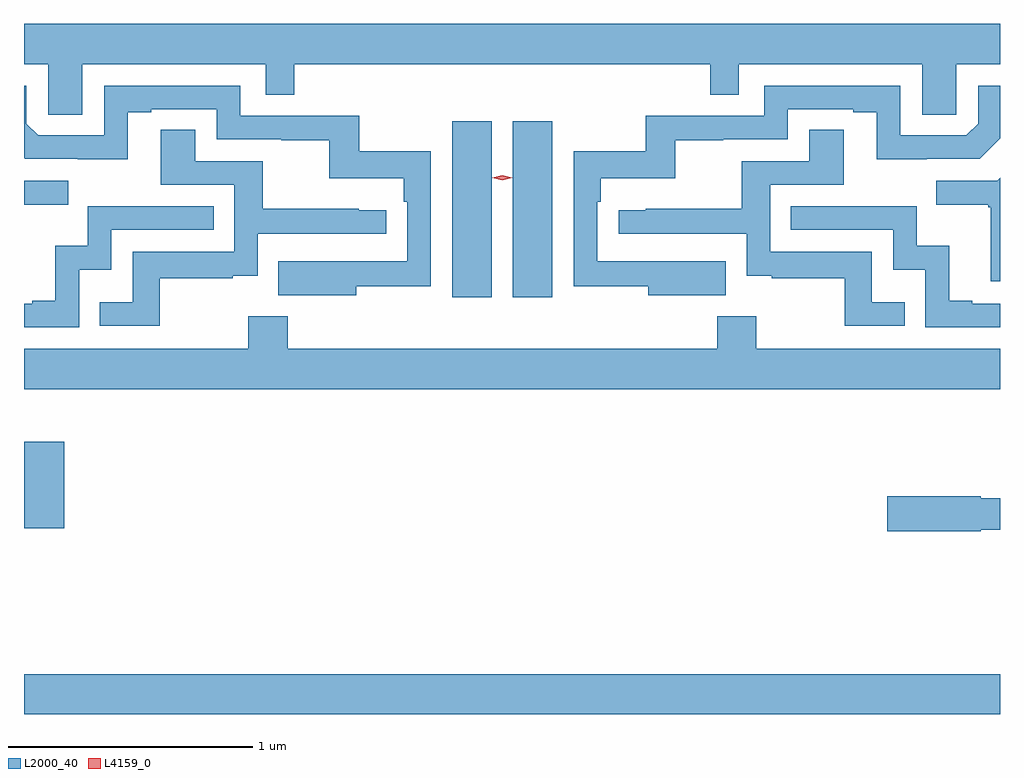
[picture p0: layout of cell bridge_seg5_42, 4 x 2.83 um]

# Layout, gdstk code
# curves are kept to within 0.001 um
import gdstk
lib = gdstk.Library(unit=1e-6, precision=1e-09)
def R(c, l, rs):  # rectangles x0, y0, x1, y1
    for r in rs: c.add(gdstk.rectangle(r[:2], r[2:], *l))
def P(c, l, *ps):  # polygons
    for p in ps: c.add(gdstk.Polygon(p, *l))
L2000_40 = (2000, 40)
L4159_0 = (4159, 0)

bridge_seg5_42 = lib.new_cell('bridge_seg5_42')
R(bridge_seg5_42, L2000_40, [(879.968,884.732,883.968,884.896), (879.968,885.494,880.133,885.847), (881.723,886.44,881.884,887.161), (881.972,886.44,882.133,887.161), (879.968,886.82,880.15,886.917)])
P(bridge_seg5_42, L2000_40, [(880.207,887.396),(880.959,887.396),(880.959,887.269),(881.075,887.269),(881.075,887.396),(882.781,887.396),(882.781,887.269),(882.897,887.269),(882.897,887.396),(883.649,887.396),(883.649,887.188),(883.788,887.188),(883.788,887.396),(883.968,887.396),(883.968,887.56),(879.968,887.56),(879.968,887.396),(880.068,887.396),(880.068,887.188),(880.207,887.188)],
  [(881.329,886.486),(881.634,886.486),(881.634,887.038),(881.341,887.038),(881.341,887.184),(880.854,887.184),(880.854,887.307),(880.296,887.307),(880.296,887.103),(880.026,887.103),(879.978,887.151),(879.978,887.307),(879.968,887.307),(879.968,887.011),(879.972,887.007),(880.393,887.006),(880.393,887.199),(880.489,887.199),(880.489,887.211),(880.758,887.211),(880.758,887.088),(881.023,887.088),(881.023,887.083),(881.22,887.083),(881.22,886.928),(881.525,886.928),(881.525,886.832),(881.538,886.832),(881.538,886.587),(881.011,886.588),(881.011,886.448),(881.329,886.448)],
  [(882.845,886.588),(882.318,886.587),(882.318,886.832),(882.332,886.832),(882.332,886.928),(882.637,886.928),(882.637,887.083),(882.833,887.083),(882.833,887.088),(883.098,887.088),(883.098,887.211),(883.367,887.211),(883.367,887.199),(883.463,887.199),(883.463,887.006),(883.884,887.007),(883.968,887.091),(883.968,887.307),(883.878,887.307),(883.878,887.151),(883.83,887.103),(883.56,887.103),(883.56,887.307),(883.002,887.307),(883.002,887.184),(882.516,887.184),(882.516,887.038),(882.222,887.038),(882.222,886.486),(882.527,886.486),(882.527,886.448),(882.845,886.448)],
  [(880.525,886.518),(880.823,886.518),(880.823,886.529),(880.926,886.529),(880.926,886.701),(881.452,886.701),(881.452,886.797),(881.339,886.797),(881.339,886.802),(880.946,886.802),(880.946,886.998),(880.669,886.998),(880.669,887.126),(880.529,887.126),(880.529,886.902),(880.83,886.902),(880.83,886.626),(880.414,886.626),(880.414,886.42),(880.279,886.42),(880.279,886.323),(880.525,886.323)],
  [(883.577,886.42),(883.443,886.42),(883.443,886.626),(883.026,886.626),(883.026,886.902),(883.327,886.902),(883.327,887.126),(883.187,887.126),(883.187,886.998),(882.91,886.998),(882.91,886.802),(882.517,886.802),(882.517,886.797),(882.405,886.797),(882.405,886.701),(882.93,886.701),(882.93,886.529),(883.033,886.529),(883.033,886.518),(883.332,886.518),(883.332,886.323),(883.577,886.323)],
  [(883.968,886.929),(883.956,886.917),(883.707,886.917),(883.707,886.82),(883.92,886.82),(883.92,886.809),(883.931,886.809),(883.931,886.506),(883.968,886.506)],
  [(883.968,886.413),(883.855,886.413),(883.855,886.426),(883.759,886.426),(883.759,886.651),(883.626,886.651),(883.626,886.812),(883.111,886.812),(883.111,886.716),(883.53,886.716),(883.53,886.553),(883.662,886.553),(883.662,886.317),(883.968,886.317)],
  [(880.194,886.553),(880.326,886.553),(880.326,886.716),(880.745,886.716),(880.745,886.812),(880.23,886.812),(880.23,886.651),(880.097,886.651),(880.097,886.426),(880.001,886.426),(880.001,886.413),(879.968,886.413),(879.968,886.317),(880.194,886.317)],
  [(883.968,886.228),(882.969,886.228),(882.969,886.363),(882.809,886.363),(882.809,886.228),(881.048,886.228),(881.048,886.363),(880.888,886.363),(880.888,886.228),(879.968,886.228),(879.968,886.064),(883.968,886.064)],
  [(883.89,885.487),(883.968,885.487),(883.968,885.616),(883.89,885.616),(883.89,885.624),(883.506,885.624),(883.506,885.482),(883.89,885.482)])
P(bridge_seg5_42, L4159_0, [(881.928,886.92),(881.888,886.929),(881.888,886.93),(881.888,886.93),(881.928,886.94),(881.968,886.93),(881.968,886.93),(881.968,886.93)])

lib.write_gds('bridge_seg5_42.gds')
